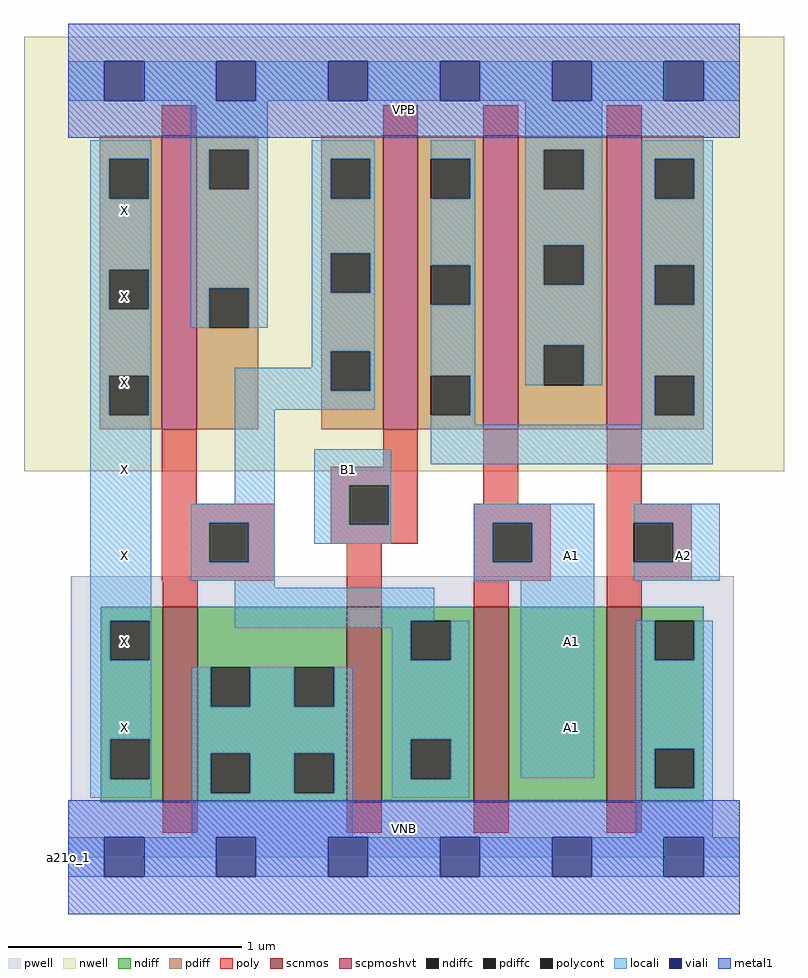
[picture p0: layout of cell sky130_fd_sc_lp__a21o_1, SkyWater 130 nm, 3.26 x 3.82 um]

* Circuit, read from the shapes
.subckt sky130_fd_sc_lp__a21o_1 A1 A2 B1 VGND VNB VPB VPWR X
XM1 VGND n1 X VNB sky130_fd_pr__nfet_01v8 w=0.84 l=0.15
XM2 n1 B1 VGND VNB sky130_fd_pr__nfet_01v8 w=0.84 l=0.15
XM3 n2 A1 n1 VNB sky130_fd_pr__nfet_01v8 w=0.84 l=0.15
XM4 VGND A2 n2 VNB sky130_fd_pr__nfet_01v8 w=0.84 l=0.15
XM5 VPWR n1 X VPB sky130_fd_pr__pfet_01v8_hvt w=1.26 l=0.15
XM6 n3 B1 n1 VPB sky130_fd_pr__pfet_01v8_hvt w=1.26 l=0.15
XM7 VPWR A1 n3 VPB sky130_fd_pr__pfet_01v8_hvt w=1.26 l=0.15
XM8 n3 A2 VPWR VPB sky130_fd_pr__pfet_01v8_hvt w=1.26 l=0.15
.ends

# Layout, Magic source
magic
tech sky130A
magscale 1 2
<< nwell >>
rect -38 331 614 704
<< pwell >>
rect 2 49 571 241
rect 0 0 576 49
<< scnmos >>
rect 81 47 111 215
rect 239 47 269 215
rect 348 47 378 215
rect 462 47 492 215
<< scpmoshvt >>
rect 80 367 110 619
rect 270 367 300 619
rect 356 367 386 619
rect 462 367 492 619
<< ndiff >>
rect 28 203 81 215
rect 28 169 36 203
rect 70 169 81 203
rect 28 101 81 169
rect 28 67 36 101
rect 70 67 81 101
rect 28 47 81 67
rect 111 163 239 215
rect 111 129 122 163
rect 156 129 194 163
rect 228 129 239 163
rect 111 89 239 129
rect 111 55 122 89
rect 156 55 194 89
rect 228 55 239 89
rect 111 47 239 55
rect 269 203 348 215
rect 269 169 294 203
rect 328 169 348 203
rect 269 101 348 169
rect 269 67 294 101
rect 328 67 348 101
rect 269 47 348 67
rect 378 47 462 215
rect 492 203 545 215
rect 492 169 503 203
rect 537 169 545 203
rect 492 93 545 169
rect 492 59 503 93
rect 537 59 545 93
rect 492 47 545 59
<< pdiff >>
rect 27 599 80 619
rect 27 565 35 599
rect 69 565 80 599
rect 27 504 80 565
rect 27 470 35 504
rect 69 470 80 504
rect 27 413 80 470
rect 27 379 35 413
rect 69 379 80 413
rect 27 367 80 379
rect 110 607 163 619
rect 110 573 121 607
rect 155 573 163 607
rect 110 488 163 573
rect 110 454 121 488
rect 155 454 163 488
rect 110 367 163 454
rect 217 599 270 619
rect 217 565 225 599
rect 259 565 270 599
rect 217 518 270 565
rect 217 484 225 518
rect 259 484 270 518
rect 217 434 270 484
rect 217 400 225 434
rect 259 400 270 434
rect 217 367 270 400
rect 300 599 356 619
rect 300 565 311 599
rect 345 565 356 599
rect 300 508 356 565
rect 300 474 311 508
rect 345 474 356 508
rect 300 413 356 474
rect 300 379 311 413
rect 345 379 356 413
rect 300 367 356 379
rect 386 607 462 619
rect 386 573 408 607
rect 442 573 462 607
rect 386 525 462 573
rect 386 491 408 525
rect 442 491 462 525
rect 386 439 462 491
rect 386 405 408 439
rect 442 405 462 439
rect 386 367 462 405
rect 492 599 545 619
rect 492 565 503 599
rect 537 565 545 599
rect 492 508 545 565
rect 492 474 503 508
rect 537 474 545 508
rect 492 413 545 474
rect 492 379 503 413
rect 537 379 545 413
rect 492 367 545 379
<< ndiffc >>
rect 36 169 70 203
rect 36 67 70 101
rect 122 129 156 163
rect 194 129 228 163
rect 122 55 156 89
rect 194 55 228 89
rect 294 169 328 203
rect 294 67 328 101
rect 503 169 537 203
rect 503 59 537 93
<< pdiffc >>
rect 35 565 69 599
rect 35 470 69 504
rect 35 379 69 413
rect 121 573 155 607
rect 121 454 155 488
rect 225 565 259 599
rect 225 484 259 518
rect 225 400 259 434
rect 311 565 345 599
rect 311 474 345 508
rect 311 379 345 413
rect 408 573 442 607
rect 408 491 442 525
rect 408 405 442 439
rect 503 565 537 599
rect 503 474 537 508
rect 503 379 537 413
<< poly >>
rect 80 619 110 645
rect 270 619 300 645
rect 356 619 386 645
rect 462 619 492 645
rect 80 303 110 367
rect 270 335 300 367
rect 225 319 300 335
rect 80 287 177 303
rect 80 253 121 287
rect 155 253 177 287
rect 225 285 241 319
rect 275 285 300 319
rect 356 303 386 367
rect 462 303 492 367
rect 225 269 300 285
rect 348 287 414 303
rect 80 237 177 253
rect 81 215 111 237
rect 239 215 269 269
rect 348 253 364 287
rect 398 253 414 287
rect 348 237 414 253
rect 462 287 535 303
rect 462 253 485 287
rect 519 253 535 287
rect 462 237 535 253
rect 348 215 378 237
rect 462 215 492 237
rect 81 21 111 47
rect 239 21 269 47
rect 348 21 378 47
rect 462 21 492 47
<< polycont >>
rect 121 253 155 287
rect 241 285 275 319
rect 364 253 398 287
rect 485 253 519 287
<< locali >>
rect 0 649 31 683
rect 65 649 127 683
rect 161 649 223 683
rect 257 649 319 683
rect 353 649 415 683
rect 449 649 511 683
rect 545 649 576 683
rect 19 599 71 615
rect 19 565 35 599
rect 69 565 71 599
rect 19 504 71 565
rect 19 470 35 504
rect 69 470 71 504
rect 19 413 71 470
rect 105 607 171 649
rect 105 573 121 607
rect 155 573 171 607
rect 105 488 171 573
rect 105 454 121 488
rect 155 454 171 488
rect 209 599 263 615
rect 209 565 225 599
rect 259 565 263 599
rect 209 518 263 565
rect 209 484 225 518
rect 259 484 263 518
rect 209 434 263 484
rect 209 420 225 434
rect 19 379 35 413
rect 69 379 71 413
rect 19 203 71 379
rect 143 400 225 420
rect 259 400 263 434
rect 143 384 263 400
rect 311 599 349 615
rect 345 565 349 599
rect 311 508 349 565
rect 345 474 349 508
rect 311 413 349 474
rect 143 303 177 384
rect 345 379 349 413
rect 392 607 458 649
rect 392 573 408 607
rect 442 573 458 607
rect 392 525 458 573
rect 392 491 408 525
rect 442 491 458 525
rect 392 439 458 491
rect 392 405 408 439
rect 442 405 458 439
rect 492 599 553 615
rect 492 565 503 599
rect 537 565 553 599
rect 492 508 553 565
rect 492 474 503 508
rect 537 474 553 508
rect 492 413 553 474
rect 311 371 349 379
rect 492 379 503 413
rect 537 379 553 413
rect 492 371 553 379
rect 105 287 177 303
rect 105 253 121 287
rect 155 253 177 287
rect 211 319 277 350
rect 311 337 553 371
rect 211 285 241 319
rect 275 285 277 319
rect 211 269 277 285
rect 348 287 451 303
rect 105 237 177 253
rect 348 253 364 287
rect 398 253 451 287
rect 348 237 451 253
rect 485 287 559 303
rect 519 253 559 287
rect 485 237 559 253
rect 19 169 36 203
rect 70 169 71 203
rect 143 231 177 237
rect 143 203 314 231
rect 143 197 294 203
rect 19 101 71 169
rect 278 169 294 197
rect 328 169 344 203
rect 19 67 36 101
rect 70 67 71 101
rect 19 51 71 67
rect 106 129 122 163
rect 156 129 194 163
rect 228 129 244 163
rect 106 89 244 129
rect 106 55 122 89
rect 156 55 194 89
rect 228 55 244 89
rect 106 17 244 55
rect 278 101 344 169
rect 278 67 294 101
rect 328 67 344 101
rect 388 68 451 237
rect 487 169 503 203
rect 537 169 553 203
rect 487 93 553 169
rect 278 51 344 67
rect 487 59 503 93
rect 537 59 553 93
rect 487 17 553 59
rect 0 -17 31 17
rect 65 -17 127 17
rect 161 -17 223 17
rect 257 -17 319 17
rect 353 -17 415 17
rect 449 -17 511 17
rect 545 -17 576 17
<< viali >>
rect 31 649 65 683
rect 127 649 161 683
rect 223 649 257 683
rect 319 649 353 683
rect 415 649 449 683
rect 511 649 545 683
rect 31 -17 65 17
rect 127 -17 161 17
rect 223 -17 257 17
rect 319 -17 353 17
rect 415 -17 449 17
rect 511 -17 545 17
<< metal1 >>
rect 0 683 576 715
rect 0 649 31 683
rect 65 649 127 683
rect 161 649 223 683
rect 257 649 319 683
rect 353 649 415 683
rect 449 649 511 683
rect 545 649 576 683
rect 0 617 576 649
rect 0 17 576 49
rect 0 -17 31 17
rect 65 -17 127 17
rect 161 -17 223 17
rect 257 -17 319 17
rect 353 -17 415 17
rect 449 -17 511 17
rect 545 -17 576 17
rect 0 -49 576 -17
<< labels >>
flabel pwell s 0 0 576 49 0 FreeSans 200 0 0 0 VNB
port 5 nsew ground bidirectional
flabel nwell s 0 617 576 666 0 FreeSans 200 0 0 0 VPB
port 6 nsew power bidirectional
rlabel comment s 0 0 0 0 4 a21o_1
flabel metal1 s 0 617 576 666 0 FreeSans 340 0 0 0 VPWR
port 7 nsew power bidirectional
flabel metal1 s 0 0 576 49 0 FreeSans 340 0 0 0 VGND
port 4 nsew ground bidirectional
flabel locali s 415 94 449 128 0 FreeSans 340 0 0 0 A1
port 1 nsew signal input
flabel locali s 415 168 449 202 0 FreeSans 340 0 0 0 A1
port 1 nsew signal input
flabel locali s 415 242 449 276 0 FreeSans 340 0 0 0 A1
port 1 nsew signal input
flabel locali s 511 242 545 276 0 FreeSans 340 0 0 0 A2
port 2 nsew signal input
flabel locali s 31 94 65 128 0 FreeSans 340 0 0 0 X
port 8 nsew signal output
flabel locali s 31 168 65 202 0 FreeSans 340 0 0 0 X
port 8 nsew signal output
flabel locali s 31 242 65 276 0 FreeSans 340 0 0 0 X
port 8 nsew signal output
flabel locali s 31 316 65 350 0 FreeSans 340 0 0 0 X
port 8 nsew signal output
flabel locali s 31 390 65 424 0 FreeSans 340 0 0 0 X
port 8 nsew signal output
flabel locali s 31 464 65 498 0 FreeSans 340 0 0 0 X
port 8 nsew signal output
flabel locali s 31 538 65 572 0 FreeSans 340 0 0 0 X
port 8 nsew signal output
flabel locali s 223 316 257 350 0 FreeSans 340 0 0 0 B1
port 3 nsew signal input
<< properties >>
string LEFsite unit
string LEFclass CORE
string FIXED_BBOX 0 0 576 666
string GDS_FILE $PDKPATH/libs.ref/sky130_fd_sc_lp/gds/sky130_fd_sc_lp.gds
string LEFsymmetry X Y R90
string GDS_END 2568404
string GDS_START 2561472
<< end >>
